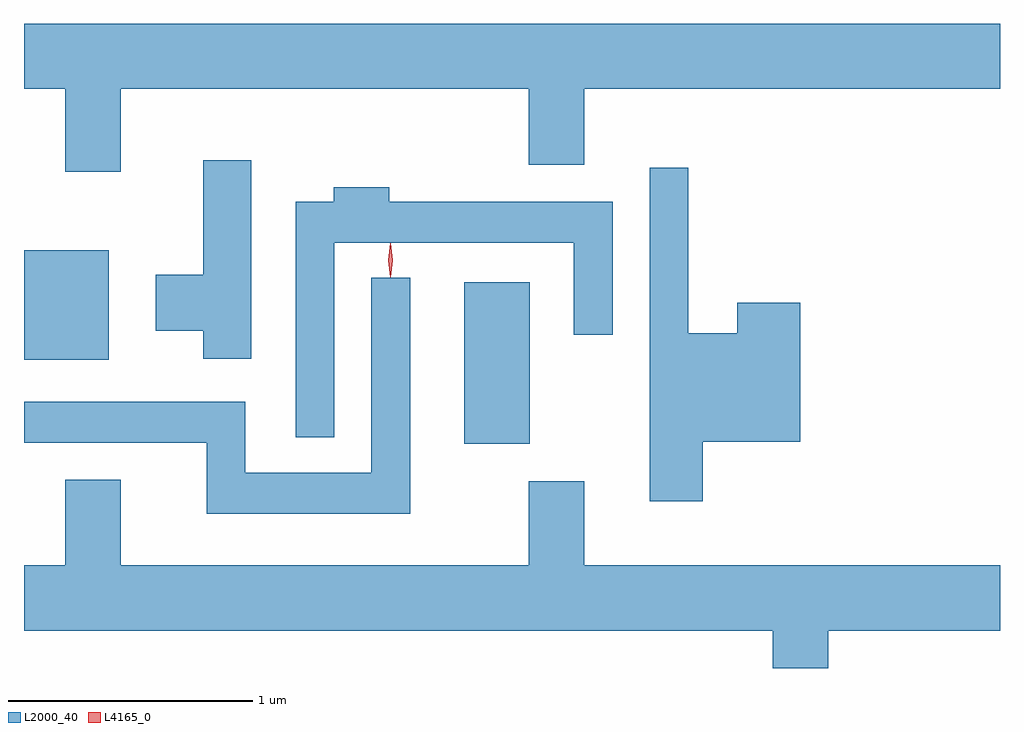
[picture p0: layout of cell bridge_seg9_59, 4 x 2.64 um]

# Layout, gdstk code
import gdstk
lib = gdstk.Library(unit=1e-6, precision=1e-09)
def R(c, l, rs):  # rectangles x0, y0, x1, y1
    for r in rs: c.add(gdstk.rectangle(r[:2], r[2:], *l))
def P(c, l, *ps):  # polygons
    for p in ps: c.add(gdstk.Polygon(p, *l))
L2000_40 = (2000, 40)
L4165_0 = (4165, 0)

bridge_seg9_59 = lib.new_cell('bridge_seg9_59')
R(bridge_seg9_59, L2000_40, [(1496.566,1977.041,1496.834,1977.704), (1494.762,1977.386,1495.109,1977.834)])
P(bridge_seg9_59, L2000_40, [(1495.159,1978.496),(1496.831,1978.496),(1496.831,1978.186),(1497.059,1978.186),(1497.059,1978.496),(1498.762,1978.496),(1498.762,1978.764),(1494.762,1978.764),(1494.762,1978.496),(1494.931,1978.496),(1494.931,1978.156),(1495.159,1978.156)],
  [(1495.694,1978.204),(1495.496,1978.204),(1495.496,1977.734),(1495.301,1977.734),(1495.301,1977.506),(1495.496,1977.506),(1495.496,1977.391),(1495.694,1977.391)],
  [(1497.544,1977.051),(1497.944,1977.051),(1497.944,1977.619),(1497.686,1977.619),(1497.686,1977.494),(1497.484,1977.494),(1497.484,1978.173),(1497.326,1978.173),(1497.326,1976.806),(1497.544,1976.806)],
  [(1496.034,1977.866),(1497.016,1977.866),(1497.016,1977.488),(1497.174,1977.488),(1497.174,1978.034),(1496.259,1978.034),(1496.259,1978.094),(1496.031,1978.094),(1496.031,1978.034),(1495.876,1978.034),(1495.876,1977.068),(1496.034,1977.068)],
  [(1496.344,1977.723),(1496.186,1977.723),(1496.186,1976.924),(1495.669,1976.924),(1495.669,1977.214),(1494.762,1977.214),(1494.762,1977.046),(1495.511,1977.046),(1495.511,1976.756),(1496.344,1976.756)],
  [(1498.059,1976.276),(1498.762,1976.276),(1498.762,1976.544),(1497.059,1976.544),(1497.059,1976.889),(1496.831,1976.889),(1496.831,1976.544),(1495.159,1976.544),(1495.159,1976.894),(1494.931,1976.894),(1494.931,1976.544),(1494.762,1976.544),(1494.762,1976.276),(1497.831,1976.276),(1497.831,1976.121),(1498.059,1976.121)])
P(bridge_seg9_59, L4165_0, [(1496.264,1977.724),(1496.264,1977.724),(1496.254,1977.793),(1496.264,1977.863),(1496.264,1977.863),(1496.265,1977.863),(1496.274,1977.793),(1496.265,1977.724)])

lib.write_gds('bridge_seg9_59.gds')
